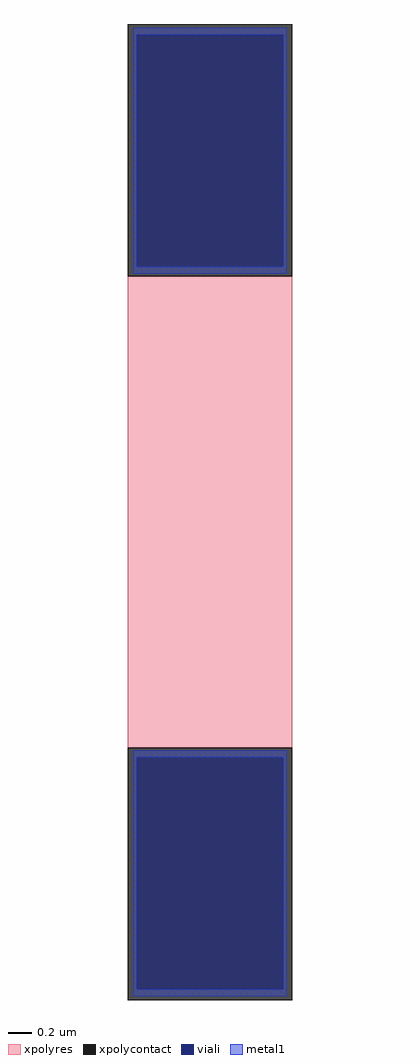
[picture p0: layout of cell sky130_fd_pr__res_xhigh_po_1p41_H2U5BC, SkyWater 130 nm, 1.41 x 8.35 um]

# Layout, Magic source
magic
tech sky130A
magscale 1 2
<< xpolycontact >>
rect -141 403 141 835
rect -141 -835 141 -403
<< xpolyres >>
rect -141 -403 141 403
<< viali >>
rect -125 420 125 817
rect -125 -817 125 -420
<< metal1 >>
rect -131 817 131 829
rect -131 420 -125 817
rect 125 420 131 817
rect -131 408 131 420
rect -131 -420 131 -408
rect -131 -817 -125 -420
rect 125 -817 131 -420
rect -131 -829 131 -817
<< properties >>
string gencell sky130_fd_pr__res_xhigh_po_1p41
string library sky130
string parameters w 1.410 l 4.193 m 1 nx 1 wmin 1.410 lmin 0.50 rho 2000 val 6.214k dummy 0 dw 0.0 term 188.2 sterm 0.0 caplen 0 wmax 1.410 guard 0 glc 1 grc 1 gtc 1 gbc 1 compatible {sky130_fd_pr__res_xhigh_po_0p35  sky130_fd_pr__res_xhigh_po_0p69 sky130_fd_pr__res_xhigh_po_1p41  sky130_fd_pr__res_xhigh_po_2p85 sky130_fd_pr__res_xhigh_po_5p73} snake 0 full_metal 1 n_guard 0 hv_guard 0 vias 1 viagb 0 viagt 0 viagl 0 viagr 0
<< end >>
